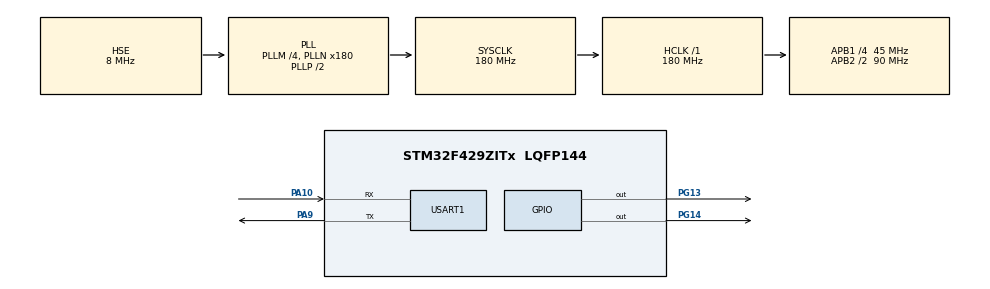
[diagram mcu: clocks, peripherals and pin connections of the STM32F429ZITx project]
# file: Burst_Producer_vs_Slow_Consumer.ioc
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FREERTOS.Tasks01=defaultTask,0,128,StartDefaultTask,Default,NULL,Dynamic,NULL,NULL
Mcu.Family=STM32F4
Mcu.Name=STM32F429ZITx
Mcu.Package=LQFP144
NVIC.PriorityGroup=NVIC_PRIORITYGROUP_4
NVIC.TIM6_DAC_IRQn=true\:15\:0\:false\:false\:true\:false\:false\:true\:true
NVIC.TimeBase=TIM6_DAC_IRQn
NVIC.TimeBaseIP=TIM6
PA10.Mode=Asynchronous
PA10.Signal=USART1_RX
PA9.Mode=Asynchronous
PA9.Signal=USART1_TX
PG13.Signal=GPIO_Output
PG14.Signal=GPIO_Output
PH0/OSC_IN.Mode=HSE-External-Oscillator
PH0/OSC_IN.Signal=RCC_OSC_IN
PH1/OSC_OUT.Mode=HSE-External-Oscillator
PH1/OSC_OUT.Signal=RCC_OSC_OUT
ProjectManager.HeapSize=0x200
ProjectManager.StackSize=0x400
ProjectManager.TargetToolchain=STM32CubeIDE
RCC.48MHZClocksFreq_Value=51428571.428571425
RCC.AHBFreq_Value=180000000
RCC.APB1CLKDivider=RCC_HCLK_DIV4
RCC.APB1Freq_Value=45000000
RCC.APB1TimFreq_Value=90000000
RCC.APB2CLKDivider=RCC_HCLK_DIV2
RCC.APB2Freq_Value=90000000
RCC.APB2TimFreq_Value=180000000
RCC.CortexFreq_Value=180000000
RCC.HCLKFreq_Value=180000000
RCC.HSE_VALUE=8000000
RCC.HSI_VALUE=16000000
RCC.LSE_VALUE=32768
RCC.PLLM=4
RCC.PLLN=180
RCC.PLLQ=7
RCC.PLLSourceVirtual=RCC_PLLSOURCE_HSE
RCC.SYSCLKFreq_VALUE=180000000
RCC.SYSCLKSource=RCC_SYSCLKSOURCE_PLLCLK
RCC.VCOOutputFreq_Value=360000000
USART1.VirtualMode=VM_ASYNC
VP_FREERTOS_VS_CMSIS_V1.Mode=CMSIS_V1
VP_SYS_VS_tim6.Mode=TIM6
board=STM32F429I-DISC1

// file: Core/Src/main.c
/* USER CODE BEGIN Header */
/**
  ******************************************************************************
  * @file           : main.c
  * @brief          : Main program body
  ******************************************************************************
  * @attention
  *
  * Copyright (c) 2025 STMicroelectronics.
  * All rights reserved.
  *
  * This software is licensed under terms that can be found in the LICENSE file
  * in the root directory of this software component.
  * If no LICENSE file comes with this software, it is provided AS-IS.
  *
  ******************************************************************************
  */
/* USER CODE END Header */
#include "main.h"

#include "FreeRTOS.h"
#include "task.h"
#include "stream_buffer.h"

#include "string.h"

UART_HandleTypeDef huart1;

void SystemClock_Config(void);
static void MX_GPIO_Init(void);
static void MX_USART1_UART_Init(void);

/* USER CODE BEGIN 0 */

/* ****************************** Stream Buffer Handle ************************* */
StreamBufferHandle_t StreamBuffer_Handle;

/* ****************************** Task Handles ********************************* */
TaskHandle_t ProducerHandle;
TaskHandle_t ConsumerHandle;

#define STREAM_BUFFER_SIZE 64
#define TRIGGER_LEVEL	   1

/* ****************************** BurstProducer Task ******************************** */
void BurstProducer(void *pvParameters)
{
	uint8_t txData[5];
	uint8_t i = 0;
	char setChars[] = {'A','B','C','D','E'};

	xStreamBufferReset(StreamBuffer_Handle); // Reset Stream Buffer before using

	for(;;)
	{
		memset(txData, setChars[i] , sizeof(txData));
		// Send data to Stream Buffer
		size_t sent = xStreamBufferSend(StreamBuffer_Handle,
		                                txData,
		                                sizeof(txData),
		                                pdMS_TO_TICKS(100));

		if(sent < sizeof(txData)) {
			HAL_UART_Transmit(&huart1, (uint8_t*) "Buffer Overflow - Not all sent\n", 32, HAL_MAX_DELAY);
		}

		HAL_GPIO_TogglePin(GPIOG, GPIO_PIN_13);

		i++;
		if(i > 4) i = 0;

		vTaskDelay(pdMS_TO_TICKS(100)); // Very fast producer
	}
}

/* ****************************** SlowConsumer Task ******************************** */
void SlowConsumer(void *pvParameters)
{
	uint8_t rxData[20];
	memset(rxData, 0, sizeof(rxData));
	for(;;)
	{
		size_t recvd = xStreamBufferReceive(StreamBuffer_Handle,
		                                    rxData,
		                                    sizeof(rxData),
		                                    portMAX_DELAY);

		HAL_GPIO_TogglePin(GPIOG, GPIO_PIN_14);

		HAL_UART_Transmit(&huart1, rxData, recvd, HAL_MAX_DELAY);
		HAL_UART_Transmit(&huart1,(uint8_t*)"\n",1,HAL_MAX_DELAY);

		vTaskDelay(pdMS_TO_TICKS(1000));  // Slow consumer
	}
}

/* USER CODE END 0 */

int main(void)
{

  /* MCU Configuration--------------------------------------------------------*/

  /* Reset of all peripherals, Initializes the Flash interface and the Systick. */
  HAL_Init();

  /* Configure the system clock */
  SystemClock_Config();

  /* Initialize all configured peripherals */
  MX_GPIO_Init();
  MX_USART1_UART_Init();
  /* USER CODE BEGIN 2 */

  /* ************************** Create Stream Buffer ************************** */
  StreamBuffer_Handle = xStreamBufferCreate(STREAM_BUFFER_SIZE, TRIGGER_LEVEL);
  if(StreamBuffer_Handle == NULL)
  {
	  HAL_UART_Transmit(&huart1, (uint8_t *)"Stream Buffer Creation Failed\n", 30, HAL_MAX_DELAY);
  }else{
	  HAL_UART_Transmit(&huart1, (uint8_t *)"Stream Buffer Created Successfully\n", 37, HAL_MAX_DELAY);
  }

  /* **************************** Create Tasks ********************************** */
  xTaskCreate(BurstProducer, "Producer", 256, NULL, 2, &ProducerHandle);
  xTaskCreate(SlowConsumer,  "Consumer", 256, NULL, 2, &ConsumerHandle);

  vTaskStartScheduler();

  /* USER CODE END 2 */

  /* We should never get here as control is now taken by the scheduler */

  /* Infinite loop */
  while (1)
  {

  }
}

void SystemClock_Config(void)
{
  RCC_OscInitTypeDef RCC_OscInitStruct = {0};
  RCC_ClkInitTypeDef RCC_ClkInitStruct = {0};

  /** Configure the main internal regulator output voltage
  */
  __HAL_RCC_PWR_CLK_ENABLE();
  __HAL_PWR_VOLTAGESCALING_CONFIG(PWR_REGULATOR_VOLTAGE_SCALE1);

  /** Initializes the RCC Oscillators according to the specified parameters
  * in the RCC_OscInitTypeDef structure.
  */
  RCC_OscInitStruct.OscillatorType = RCC_OSCILLATORTYPE_HSE;
  RCC_OscInitStruct.HSEState = RCC_HSE_ON;
  RCC_OscInitStruct.PLL.PLLState = RCC_PLL_ON;
  RCC_OscInitStruct.PLL.PLLSource = RCC_PLLSOURCE_HSE;
  RCC_OscInitStruct.PLL.PLLM = 4;
  RCC_OscInitStruct.PLL.PLLN = 180;
  RCC_OscInitStruct.PLL.PLLP = RCC_PLLP_DIV2;
  RCC_OscInitStruct.PLL.PLLQ = 7;
  if (HAL_RCC_OscConfig(&RCC_OscInitStruct) != HAL_OK)
  {
    Error_Handler();
  }

  /** Activate the Over-Drive mode
  */
  if (HAL_PWREx_EnableOverDrive() != HAL_OK)
  {
    Error_Handler();
  }

  /** Initializes the CPU, AHB and APB buses clocks
  */
  RCC_ClkInitStruct.ClockType = RCC_CLOCKTYPE_HCLK|RCC_CLOCKTYPE_SYSCLK
                              |RCC_CLOCKTYPE_PCLK1|RCC_CLOCKTYPE_PCLK2;
  RCC_ClkInitStruct.SYSCLKSource = RCC_SYSCLKSOURCE_PLLCLK;
  RCC_ClkInitStruct.AHBCLKDivider = RCC_SYSCLK_DIV1;
  RCC_ClkInitStruct.APB1CLKDivider = RCC_HCLK_DIV4;
  RCC_ClkInitStruct.APB2CLKDivider = RCC_HCLK_DIV2;

  if (HAL_RCC_ClockConfig(&RCC_ClkInitStruct, FLASH_LATENCY_5) != HAL_OK)
  {
    Error_Handler();
  }
}

static void MX_USART1_UART_Init(void)
{

  huart1.Instance = USART1;
  huart1.Init.BaudRate = 115200;
  huart1.Init.WordLength = UART_WORDLENGTH_8B;
  huart1.Init.StopBits = UART_STOPBITS_1;
  huart1.Init.Parity = UART_PARITY_NONE;
  huart1.Init.Mode = UART_MODE_TX_RX;
  huart1.Init.HwFlowCtl = UART_HWCONTROL_NONE;
  huart1.Init.OverSampling = UART_OVERSAMPLING_16;
  if (HAL_UART_Init(&huart1) != HAL_OK)
  {
    Error_Handler();
  }

}

static void MX_GPIO_Init(void)
{
  GPIO_InitTypeDef GPIO_InitStruct = {0};

  /* GPIO Ports Clock Enable */
  __HAL_RCC_GPIOH_CLK_ENABLE();
  __HAL_RCC_GPIOA_CLK_ENABLE();
  __HAL_RCC_GPIOG_CLK_ENABLE();

  /*Configure GPIO pin Output Level */
  HAL_GPIO_WritePin(GPIOG, GPIO_PIN_13|GPIO_PIN_14, GPIO_PIN_RESET);

  /*Configure GPIO pins : PG13 PG14 */
  GPIO_InitStruct.Pin = GPIO_PIN_13|GPIO_PIN_14;
  GPIO_InitStruct.Mode = GPIO_MODE_OUTPUT_PP;
  GPIO_InitStruct.Pull = GPIO_NOPULL;
  GPIO_InitStruct.Speed = GPIO_SPEED_FREQ_LOW;
  HAL_GPIO_Init(GPIOG, &GPIO_InitStruct);

}

void HAL_TIM_PeriodElapsedCallback(TIM_HandleTypeDef *htim)
{
  if (htim->Instance == TIM6)
  {
    HAL_IncTick();
  }
}

void Error_Handler(void)
{
  __disable_irq();
  while (1)
  {
  }
}
